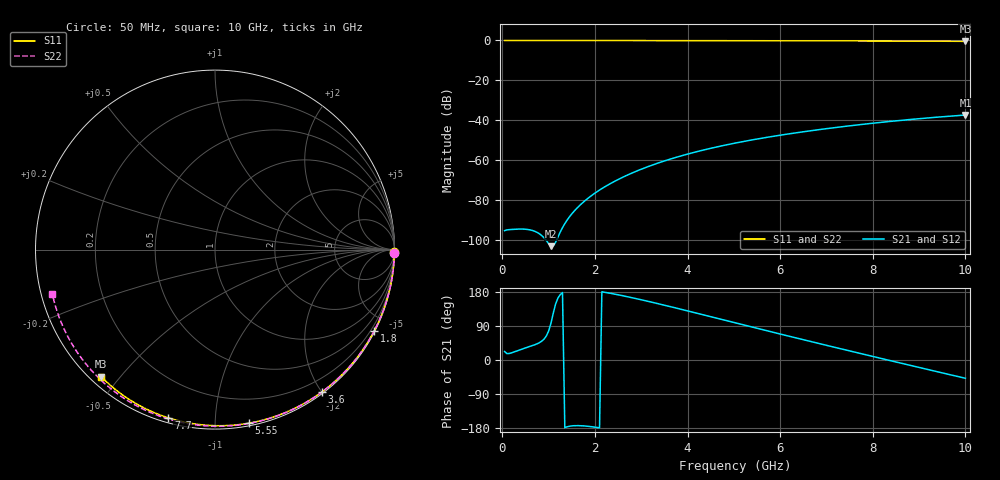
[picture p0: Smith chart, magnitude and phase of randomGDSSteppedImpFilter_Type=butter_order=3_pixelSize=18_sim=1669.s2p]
! freq	dB(S11)	phase(S11)	dB(S12)	phase(S12)
!  dB(S21)	phase(S21)	dB(S22)	phase(S22)
!S-par simulation data
#  GHz  S  DB  R 50
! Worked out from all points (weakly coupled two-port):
!   200 points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, 50 MHz to 10 GHz, reference 50 ohm
!   highest |S21| = -37.34 dB at 10 GHz (marker M1); lowest = -103.0 dB at 1.05 GHz (marker M2)
!   lowest |S11| = -0.4 dB at 10 GHz (marker M3), VSWR 39.22, Z = 1.53 - j22.3 ohm
!   |S11| at or under -10 dB: nowhere
!   |S22| runs from -0.5 to 0.0 dB; largest |S21 - S12| = 0
!   S11 on the Smith chart (normalised r, x): 50 MHz: open; 1.8 GHz: 0.04, -4.15; 3.6 GHz: 0.02, -2.01; 5.55 GHz: 0.02, -1.21; 7.7 GHz: 0.02, -0.76; 10 GHz: 0.03, -0.45
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0.05  -0.00 -0.8  -95.20 22.4  -95.20 22.4  -0.00 -1.0
0.55  -0.01 -8.4  -94.63 34.0  -94.63 34.0  -0.01 -10.5
1.05  -0.02 -15.9  -102.98 96.6  -102.98 96.6  -0.02 -19.9
1.75  -0.03 -26.3  -80.93 -173.8  -80.93 -173.8  -0.04 -32.9
1.8  -0.03 -27.1  -79.94 -174.3  -79.94 -174.3  -0.04 -33.8
1.95  -0.04 -29.3  -77.25 -176.4  -77.25 -176.4  -0.05 -36.6
2.1  -0.04 -31.5  -74.88 -179.0  -74.88 -179.0  -0.05 -39.3
2.3  -0.04 -34.4  -72.09 176.8  -72.09 176.8  -0.05 -42.9
2.5  -0.05 -37.3  -69.62 172.1  -69.62 172.1  -0.06 -46.5
2.9  -0.06 -43.1  -65.40 161.7  -65.40 161.7  -0.07 -53.6
3.4  -0.07 -50.1  -61.08 147.6  -61.08 147.6  -0.08 -62.3
3.6  -0.07 -52.9  -59.58 141.7  -59.58 141.7  -0.09 -65.7
3.95  -0.08 -57.8  -57.21 131.1  -57.21 131.1  -0.10 -71.6
4.3  -0.09 -62.6  -55.10 120.5  -55.10 120.5  -0.11 -77.5
5.05  -0.11 -72.5  -51.28 97.4  -51.28 97.4  -0.14 -89.6
5.55  -0.13 -79.0  -49.14 82.2  -49.14 82.2  -0.16 -97.5
6.1  -0.15 -86.0  -47.07 65.5  -47.07 65.5  -0.19 -106.1
6.7  -0.18 -93.4  -45.07 47.6  -45.07 47.6  -0.22 -115.2
7.7  -0.24 -105.5  -42.20 18.1  -42.20 18.1  -0.30 -130.1
8.35  -0.29 -113.1  -40.59 -0.8  -40.59 -0.8  -0.36 -139.7
9.2  -0.36 -122.8  -38.76 -25.4  -38.76 -25.4  -0.45 -152.4
10  -0.44 -131.9  -37.34 -48.2  -37.34 -48.2  -0.54 -164.7
